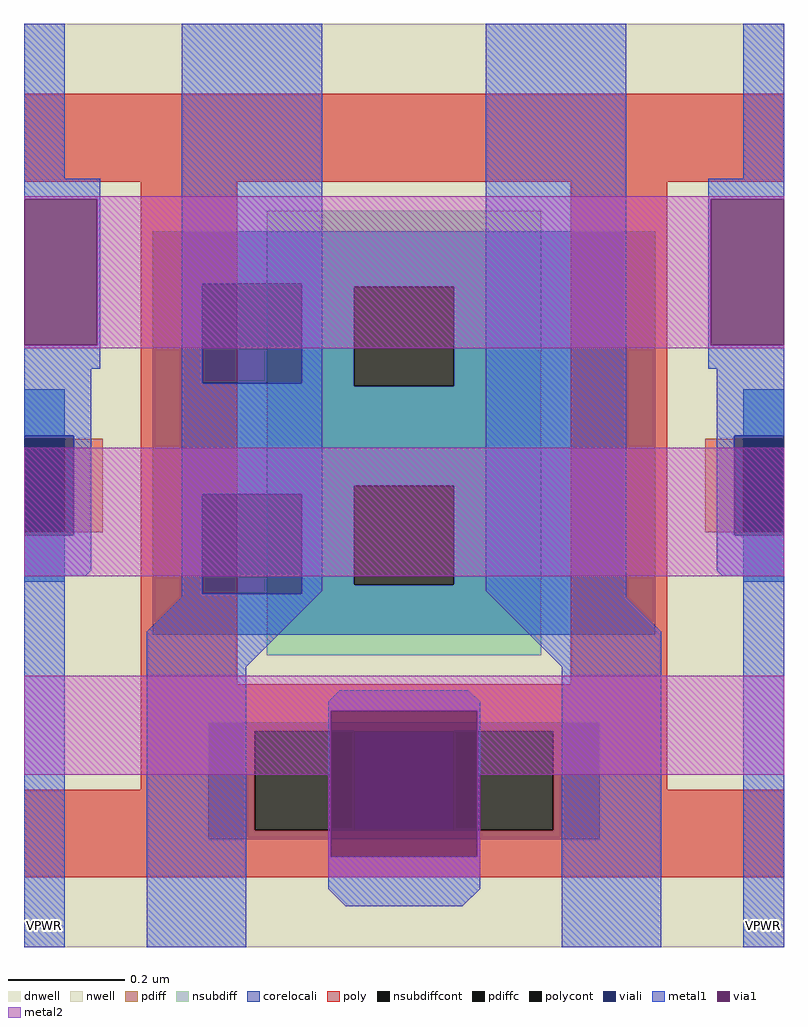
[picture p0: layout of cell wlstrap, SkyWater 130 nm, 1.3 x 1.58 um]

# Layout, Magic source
magic
tech sky130A
magscale 1 2
<< dnwell >>
rect 0 0 260 316
<< nwell >>
rect 0 0 260 316
<< pdiff >>
rect 14 142 27 174
rect 233 142 246 174
<< pdiffc >>
rect 0 142 14 174
rect 246 142 260 174
<< nsubdiff >>
rect 83 226 177 252
rect 83 192 113 226
rect 147 192 177 226
rect 83 158 177 192
rect 83 124 113 158
rect 147 124 177 158
rect 83 100 177 124
<< nsubdiffcont >>
rect 113 192 147 226
rect 113 124 147 158
<< poly >>
rect 0 262 260 292
rect 40 90 73 262
rect 187 90 220 262
rect 40 74 220 90
rect 40 54 79 74
rect 0 40 79 54
rect 113 40 147 74
rect 181 54 220 74
rect 181 40 260 54
rect 0 24 260 40
<< polycont >>
rect 79 40 113 74
rect 147 40 181 74
<< corelocali >>
rect 44 227 216 245
rect 44 193 61 227
rect 95 226 216 227
rect 95 193 113 226
rect 44 192 113 193
rect 147 192 216 226
rect 0 175 14 191
rect 44 158 216 192
rect 246 175 260 191
rect 44 155 113 158
rect 0 125 14 141
rect 44 121 61 155
rect 95 124 113 155
rect 147 124 216 158
rect 246 125 260 141
rect 95 121 216 124
rect 44 107 216 121
rect 63 74 197 77
rect 63 40 79 74
rect 181 40 197 74
rect 63 37 197 40
<< viali >>
rect 61 193 95 227
rect 0 174 17 175
rect 0 142 14 174
rect 14 142 17 174
rect 0 141 17 142
rect 61 121 95 155
rect 243 174 260 175
rect 243 142 246 174
rect 246 142 260 174
rect 243 141 260 142
rect 113 40 147 74
<< metal1 >>
rect 0 263 14 316
rect 0 256 26 263
rect 25 206 26 256
rect 0 198 26 206
rect 54 227 102 316
rect 0 175 23 198
rect 17 141 23 175
rect 0 129 23 141
rect 0 127 21 129
tri 21 127 23 129 nw
rect 54 193 61 227
rect 95 193 102 227
rect 54 155 102 193
rect 0 0 14 127
rect 54 121 61 155
rect 95 122 102 155
rect 95 121 100 122
rect 54 120 100 121
tri 100 120 102 122 nw
rect 158 122 206 316
rect 246 263 260 316
rect 234 256 260 263
rect 234 206 235 256
rect 234 198 260 206
rect 237 175 260 198
rect 237 141 243 175
rect 237 129 260 141
tri 237 127 239 129 ne
rect 239 127 260 129
tri 42 108 54 120 se
rect 54 108 76 120
rect 42 0 76 108
tri 76 96 100 120 nw
tri 158 96 184 122 ne
rect 184 108 206 122
tri 206 108 218 120 sw
tri 104 84 108 88 se
rect 108 84 152 88
tri 152 84 156 88 sw
rect 104 81 156 84
rect 104 31 105 81
rect 155 31 156 81
rect 104 20 156 31
tri 104 14 110 20 ne
rect 110 14 150 20
tri 150 14 156 20 nw
rect 184 0 218 108
rect 246 0 260 127
<< via1 >>
rect 0 206 25 256
rect 235 206 260 256
rect 105 74 155 81
rect 105 40 113 74
rect 113 40 147 74
rect 147 40 155 74
rect 105 31 155 40
<< metal2 >>
rect 0 256 260 257
rect 25 206 235 256
rect 0 205 260 206
rect 0 127 260 171
rect 0 81 260 93
rect 0 59 105 81
rect 104 31 105 59
rect 155 59 260 81
rect 155 31 156 59
rect 104 24 156 31
<< labels >>
rlabel metal1 s 0 0 14 15 4 VPWR
rlabel metal1 s 246 0 260 15 4 VPWR
<< end >>
